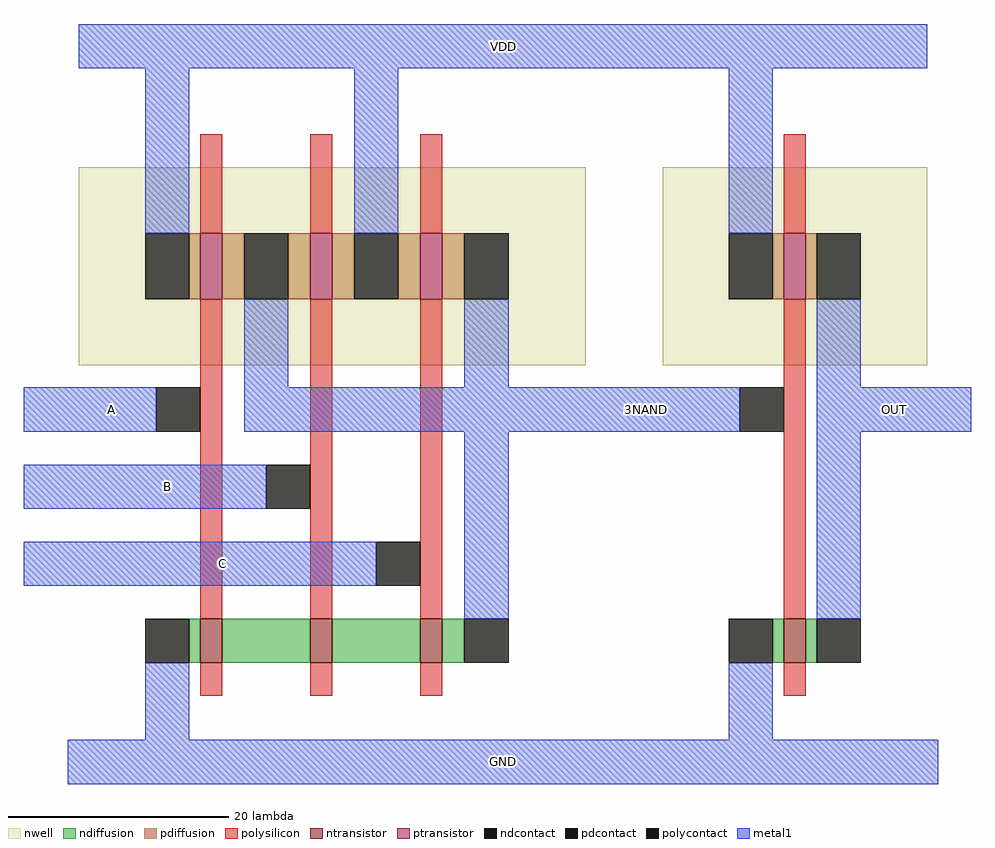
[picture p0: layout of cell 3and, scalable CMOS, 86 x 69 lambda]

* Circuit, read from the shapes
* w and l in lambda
.subckt 3and 3NAND A B C GND OUT VDD
M1 n1 A GND VSUBS nfet w=4 l=2
M2 n2 B n1 VSUBS nfet w=4 l=2
M3 3NAND C n2 VSUBS nfet w=4 l=2
M4 OUT 3NAND GND VSUBS nfet w=4 l=2
M5 3NAND A VDD n3 pfet w=6 l=2
M6 VDD B 3NAND n3 pfet w=6 l=2
M7 3NAND C VDD n3 pfet w=6 l=2
M8 OUT 3NAND VDD n4 pfet w=6 l=2
.ends

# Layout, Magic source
magic
tech scmos
<< nwell >>
rect 0 -1 46 17
rect 53 -1 77 17
<< ntransistor >>
rect 11 -28 13 -24
rect 21 -28 23 -24
rect 31 -28 33 -24
rect 64 -28 66 -24
<< ptransistor >>
rect 11 5 13 11
rect 21 5 23 11
rect 31 5 33 11
rect 64 5 66 11
<< ndiffusion >>
rect 10 -28 11 -24
rect 13 -28 21 -24
rect 23 -28 31 -24
rect 33 -28 35 -24
rect 63 -28 64 -24
rect 66 -28 67 -24
<< pdiffusion >>
rect 10 5 11 11
rect 13 5 15 11
rect 19 5 21 11
rect 23 5 25 11
rect 29 5 31 11
rect 33 5 35 11
rect 63 5 64 11
rect 66 5 67 11
<< ndcontact >>
rect 6 -28 10 -24
rect 35 -28 39 -24
rect 59 -28 63 -24
rect 67 -28 71 -24
<< pdcontact >>
rect 6 5 10 11
rect 15 5 19 11
rect 25 5 29 11
rect 35 5 39 11
rect 59 5 63 11
rect 67 5 71 11
<< polysilicon >>
rect 11 11 13 20
rect 21 11 23 20
rect 31 11 33 20
rect 64 11 66 20
rect 11 -24 13 5
rect 21 -24 23 5
rect 31 -24 33 5
rect 64 -24 66 5
rect 11 -31 13 -28
rect 21 -31 23 -28
rect 31 -31 33 -28
rect 64 -31 66 -28
<< polycontact >>
rect 7 -7 11 -3
rect 17 -14 21 -10
rect 27 -21 31 -17
rect 60 -7 64 -3
<< metal1 >>
rect 0 26 77 30
rect 6 11 10 26
rect 25 11 29 26
rect 59 11 63 26
rect 15 -3 19 5
rect 35 -3 39 5
rect 67 -3 71 5
rect -5 -7 7 -3
rect 15 -7 60 -3
rect 67 -7 81 -3
rect -5 -14 17 -10
rect -5 -21 27 -17
rect 35 -24 39 -7
rect 67 -24 71 -7
rect 6 -35 10 -28
rect 59 -35 63 -28
rect -1 -39 78 -35
<< labels >>
rlabel metal1 -5 -7 11 -3 1 A
rlabel metal1 67 -7 81 -3 1 OUT
rlabel metal1 -5 -14 21 -10 1 B
rlabel metal1 0 26 77 30 5 VDD
rlabel metal1 -1 -39 78 -35 1 GND
rlabel metal1 -5 -21 31 -17 1 C
rlabel metal1 39 -7 64 -3 1 3NAND
<< end >>
